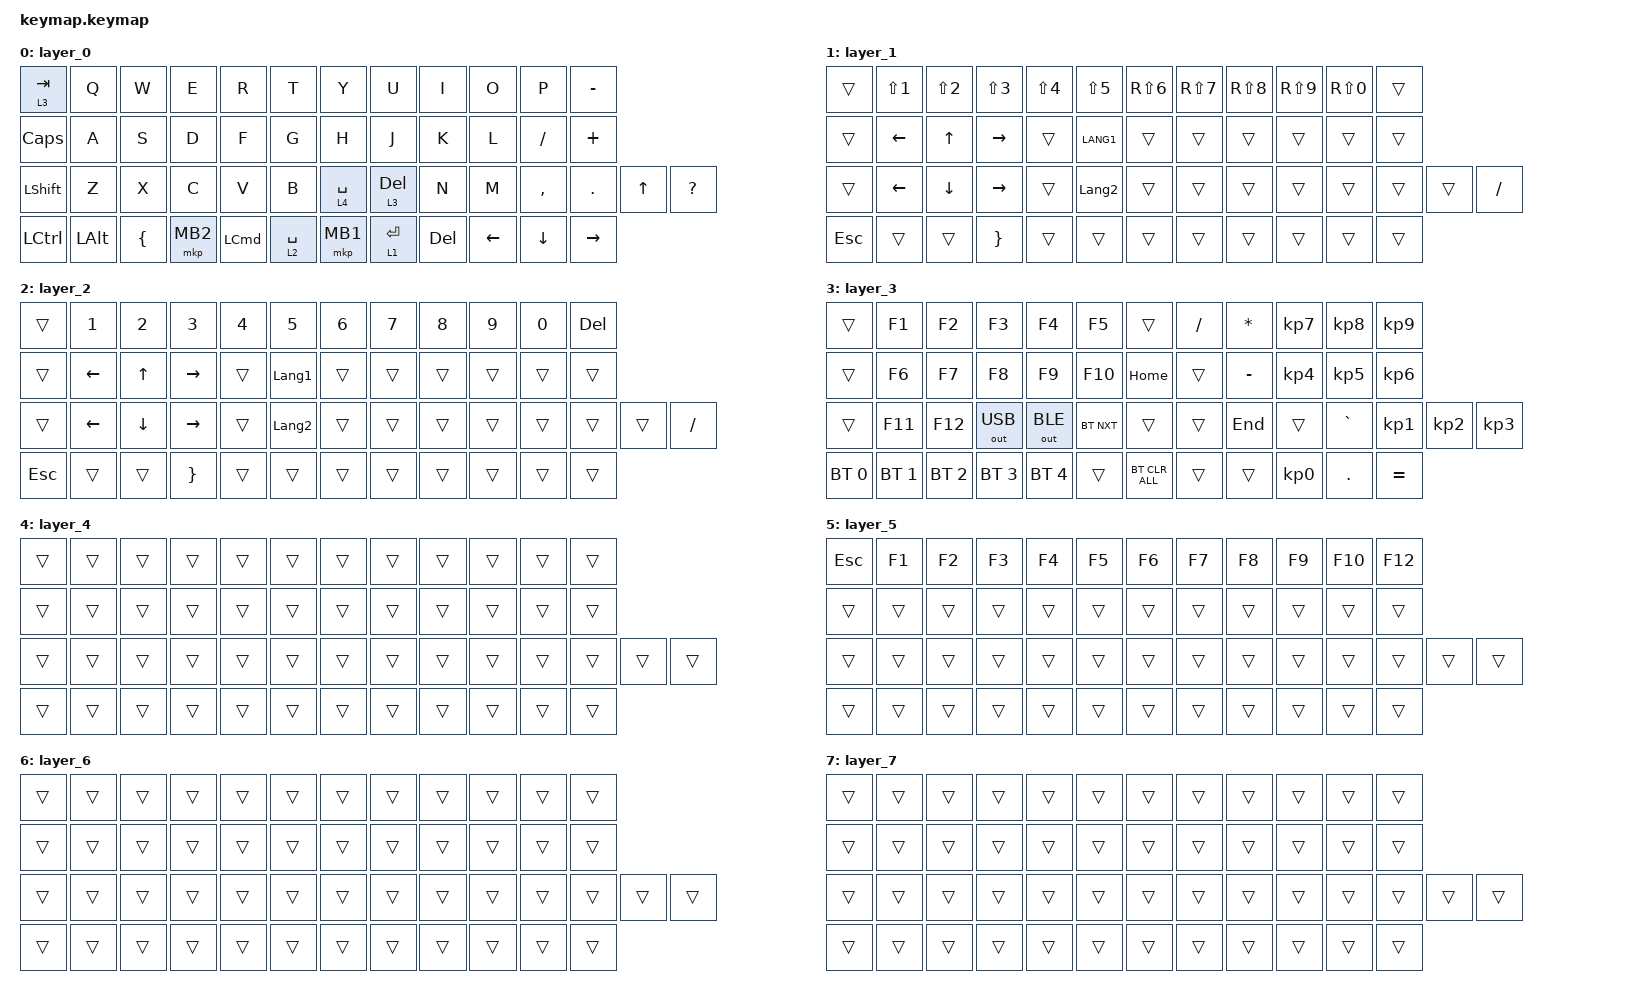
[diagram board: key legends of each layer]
#include <behaviors.dtsi>
#include <dt-bindings/zmk/bt.h>
#include <dt-bindings/zmk/keys.h>
#include <dt-bindings/zmk/outputs.h>
#include <dt-bindings/zmk/pointing.h>

/ {
    combos {
        compatible = "zmk,combos";

        bt_clear {
            bindings = <&bt BT_CLR>;
            key-positions = <28 29>;
            layers = <2>;
        };

        back {
            bindings = <&kp BACKSPACE>;
            key-positions = <11 10>;
        };

        ent {
            bindings = <&kp ENTER>;
            key-positions = <23 22>;
        };
    };

    keymap {
        compatible = "zmk,keymap";

        layer_0 {
            bindings = <
&lt 3 TAB         &kp Q         &kp W           &kp E     &kp R             &kp T        &kp Y        &kp U         &kp I       &kp O           &kp P           &kp MINUS
&kp CLCK          &kp A         &kp S           &kp D     &kp F             &kp G        &kp H        &kp J         &kp K       &kp L           &kp SLASH       &kp PLUS
&kp LSHFT         &kp Z         &kp X           &kp C     &kp V             &kp B        &lt 4 SPACE  &lt 3 DELETE  &kp N       &kp M           &kp COMMA       &kp DOT          &kp UP_ARROW  &kp QUESTION
&kp LEFT_CONTROL  &kp LEFT_ALT  &kp LEFT_BRACE  &mkp MB2  &kp LEFT_COMMAND  &lt 2 SPACE  &mkp MB1     &lt 1 ENTER   &kp DELETE  &kp LEFT_ARROW  &kp DOWN_ARROW  &kp RIGHT_ARROW
            >;
        };

        layer_1 {
            bindings = <
&trans      &kp LS(NUMBER_1)  &kp LS(NUMBER_2)  &kp LS(NUMBER_3)  &kp LS(NUMBER_4)  &kp LS(N5)      &kp RS(NUMBER_6)  &kp RS(N7)  &kp RS(N8)  &kp RS(N9)  &kp RS(N0)  &trans
&trans      &kp LEFT          &kp UP            &kp RIGHT_ARROW   &trans            &kp LANG1       &trans            &trans      &trans      &trans      &trans      &trans
&trans      &kp LEFT_ARROW    &kp DOWN_ARROW    &kp RIGHT_ARROW   &trans            &kp LANGUAGE_2  &trans            &trans      &trans      &trans      &trans      &trans  &trans  &kp SLASH
&kp ESCAPE  &trans            &trans            &kp RIGHT_BRACE   &trans            &trans          &trans            &trans      &trans      &trans      &trans      &trans
            >;
        };

        layer_2 {
            bindings = <
&trans      &kp N1          &kp N2    &kp N3           &kp N4  &kp N5          &kp N6  &kp N7  &kp N8  &kp N9  &kp N0  &kp DELETE
&trans      &kp LEFT        &kp UP    &kp RIGHT        &trans  &kp LANGUAGE_1  &trans  &trans  &trans  &trans  &trans  &trans
&trans      &kp LEFT_ARROW  &kp DOWN  &kp RIGHT_ARROW  &trans  &kp LANGUAGE_2  &trans  &trans  &trans  &trans  &trans  &trans      &trans  &kp SLASH
&kp ESCAPE  &trans          &trans    &kp RIGHT_BRACE  &trans  &trans          &trans  &trans  &trans  &trans  &trans  &trans
            >;
        };

        layer_3 {
            bindings = <
&trans        &kp F1        &kp F2        &kp F3        &kp F4        &kp F5      &trans          &kp FSLH  &kp ASTRK  &kp KP_NUMBER_7  &kp KP_NUMBER_8  &kp KP_NUMBER_9
&trans        &kp F6        &kp F7        &kp F8        &kp F9        &kp F10     &kp HOME        &trans    &kp MINUS  &kp KP_NUMBER_4  &kp KP_NUMBER_5  &kp KP_NUMBER_6
&trans        &kp F11       &kp F12       &out OUT_USB  &out OUT_BLE  &bt BT_NXT  &trans          &trans    &kp END    &trans           &kp GRAVE        &kp KP_NUMBER_1  &kp KP_NUMBER_2  &kp KP_NUMBER_3
&bt BT_SEL 0  &bt BT_SEL 1  &bt BT_SEL 2  &bt BT_SEL 3  &bt BT_SEL 4  &trans      &bt BT_CLR_ALL  &trans    &trans     &kp KP_NUMBER_0  &kp DOT          &kp EQUAL
            >;
        };

        layer_4 {
            bindings = <
&trans  &trans  &trans  &trans  &trans  &trans  &trans  &trans  &trans  &trans  &trans  &trans
&trans  &trans  &trans  &trans  &trans  &trans  &trans  &trans  &trans  &trans  &trans  &trans
&trans  &trans  &trans  &trans  &trans  &trans  &trans  &trans  &trans  &trans  &trans  &trans  &trans  &trans
&trans  &trans  &trans  &trans  &trans  &trans  &trans  &trans  &trans  &trans  &trans  &trans
            >;
        };

        layer_5 {
            bindings = <
&kp ESC  &kp F1  &kp F2  &kp F3  &kp F4  &kp F5  &kp F6  &kp F7  &kp F8  &kp F9  &kp F10  &kp F12
&trans   &trans  &trans  &trans  &trans  &trans  &trans  &trans  &trans  &trans  &trans   &trans
&trans   &trans  &trans  &trans  &trans  &trans  &trans  &trans  &trans  &trans  &trans   &trans   &trans  &trans
&trans   &trans  &trans  &trans  &trans  &trans  &trans  &trans  &trans  &trans  &trans   &trans
            >;
        };

        layer_6 {
            bindings = <
&trans  &trans  &trans  &trans  &trans  &trans  &trans  &trans  &trans  &trans  &trans  &trans
&trans  &trans  &trans  &trans  &trans  &trans  &trans  &trans  &trans  &trans  &trans  &trans
&trans  &trans  &trans  &trans  &trans  &trans  &trans  &trans  &trans  &trans  &trans  &trans  &trans  &trans
&trans  &trans  &trans  &trans  &trans  &trans  &trans  &trans  &trans  &trans  &trans  &trans
            >;
        };

        layer_7 {
            bindings = <
&trans  &trans  &trans  &trans  &trans  &trans  &trans  &trans  &trans  &trans  &trans  &trans
&trans  &trans  &trans  &trans  &trans  &trans  &trans  &trans  &trans  &trans  &trans  &trans
&trans  &trans  &trans  &trans  &trans  &trans  &trans  &trans  &trans  &trans  &trans  &trans  &trans  &trans
&trans  &trans  &trans  &trans  &trans  &trans  &trans  &trans  &trans  &trans  &trans  &trans
            >;
        };
    };
};
